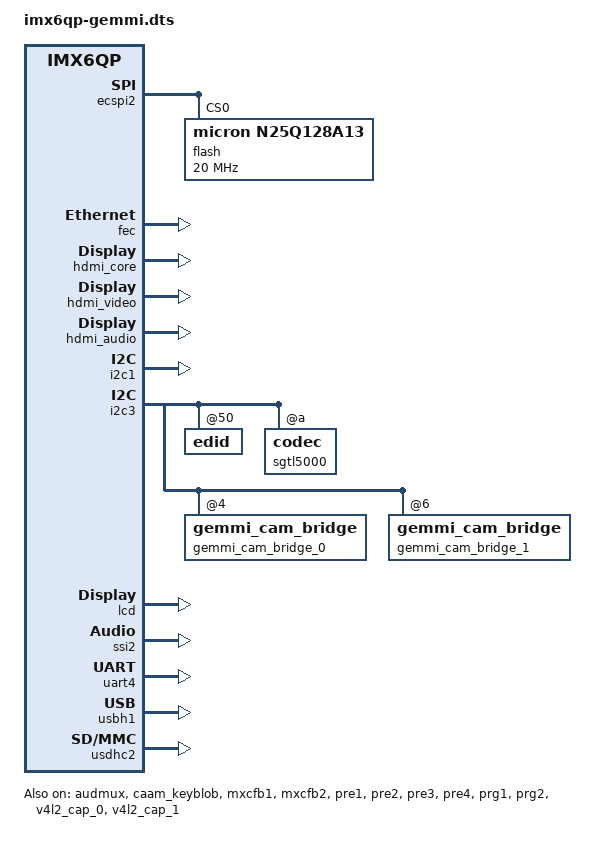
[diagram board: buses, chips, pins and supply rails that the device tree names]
/*
 * Copyright 2017,2018 Digi International Inc.
 *
 * Permission to use, copy, modify, and/or distribute this software for any
 * purpose with or without fee is hereby granted, provided that the above
 * copyright notice and this permission notice appear in all copies.
 *
 * THE SOFTWARE IS PROVIDED "AS IS" AND THE AUTHOR DISCLAIMS ALL WARRANTIES
 * WITH REGARD TO THIS SOFTWARE INCLUDING ALL IMPLIED WARRANTIES OF
 * MERCHANTABILITY AND FITNESS. IN NO EVENT SHALL THE AUTHOR BE LIABLE FOR
 * ANY SPECIAL, DIRECT, INDIRECT, OR CONSEQUENTIAL DAMAGES OR ANY DAMAGES
 * WHATSOEVER RESULTING FROM LOSS OF USE, DATA OR PROFITS, WHETHER IN AN
 * ACTION OF CONTRACT, NEGLIGENCE OR OTHER TORTIOUS ACTION, ARISING OUT OF
 * OR IN CONNECTION WITH THE USE OR PERFORMANCE OF THIS SOFTWARE.
 */

/dts-v1/;
#include <dt-bindings/gpio/gpio.h>
/* i.MX6 QuadPlus CPU */
#include "../nxp/imx/imx6qp.dtsi"
/* ConnectCore 6 QuadPlus */
#include "imx6qp-ccimx6.dtsi"
/* ConnectCore 6 QuadPlus SBC carrier board */
#include "imx6qp-gemmi.dtsi"

&audmux {
	status = "okay";
};

&caam_keyblob {
	status = "okay";
};


&codec_power {
	status = "okay";
};


&ecspi2 {
	status = "okay";
	compatible = "brel,imx6q-ecspi", "brel,imx51-ecspi";

	flash: m25p80@0 {
		#address-cells = <1>;
		#size-cells = <1>;
        compatible = "micron,n25q128a13", "jedec,spi-nor";
		spi-max-frequency = <20000000>;
		reg = <0>;
	};
};

&fec {
	status = "okay";
};

&hdmi_core {
	status = "okay";
};

&hdmi_video {
	status = "okay";
};

&hdmi_audio {
	status = "okay";
};

&i2c1 {
	status = "okay";
};

&i2c3 {
	status = "okay";

	edid@50 {
		status = "okay";
	};


	sgtl5000: codec@a {
		status = "okay";
	};

	gemmi_cam_bridge_0: gemmi_cam_bridge@4 {
		status = "okay";
	};

	gemmi_cam_bridge_1: gemmi_cam_bridge@6 {
		status = "okay";
	};
};

&lcd {
	status = "okay";
};


&mxcfb1 {
	prefetch;
	status = "okay";
};

&mxcfb2 {
	prefetch;
	status = "okay";
};

&pre1 {
	status = "okay";
};

&pre2 {
	status = "okay";
};

&pre3 {
	status = "okay";
};

&pre4 {
	status = "okay";
};

&prg1 {
	memory-region = <&memory>;
	status = "okay";
};

&prg2 {
	memory-region = <&memory>;
	status = "okay";
};
/* activate if sound over hdmi is needed
&sound_hdmi {
	status = "okay";
};
*/

&sound_sgtl5000 {
	status = "okay";
};

&ssi2 {
	status = "okay";
};

&uart1 {
	status = "disabled";
};

&uart3 {
	status = "disabled";
};

&uart4 {
	status = "okay";
};

&uart5 {
	status = "disabled";
};

&usbh1 {
	status = "okay";
};

&usdhc2 {
	status = "okay";
};

&v4l2_cap_0 {
	status = "okay";
};

&v4l2_cap_1 {
	status = "okay";
};

&v4l2_out {
	status = "okay";
};
